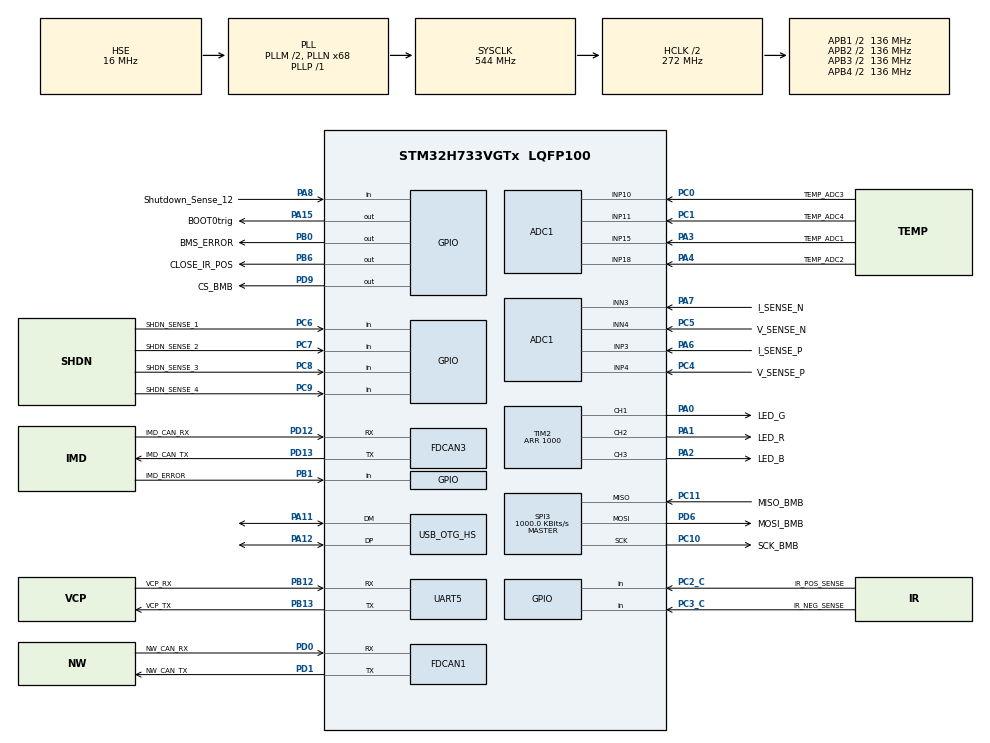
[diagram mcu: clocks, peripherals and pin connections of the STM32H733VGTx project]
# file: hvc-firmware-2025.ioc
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ADC1.Channel-0\#ChannelRegularConversion=ADC_CHANNEL_4
ADC1.Channel-1\#ChannelRegularConversion=ADC_CHANNEL_3
ADC1.Channel-2\#ChannelRegularConversion=ADC_CHANNEL_15
ADC1.Channel-3\#ChannelRegularConversion=ADC_CHANNEL_18
ADC1.Channel-4\#ChannelRegularConversion=ADC_CHANNEL_10
ADC1.Channel-5\#ChannelRegularConversion=ADC_CHANNEL_11
ADC1.ClockPrescaler=ADC_CLOCK_ASYNC_DIV1
ADC1.ContinuousConvMode=DISABLE
ADC1.ConversionDataManagement=ADC_CONVERSIONDATA_DMA_CIRCULAR
ADC1.EOCSelection=ADC_EOC_SEQ_CONV
ADC1.ExternalTrigConv=ADC_EXTERNALTRIG_T8_TRGO
ADC1.NbrOfConversion=6
ADC1.NbrOfConversionFlag=1
ADC1.OffsetNumber-0\#ChannelRegularConversion=ADC_OFFSET_NONE
ADC1.OffsetNumber-1\#ChannelRegularConversion=ADC_OFFSET_NONE
ADC1.OffsetNumber-2\#ChannelRegularConversion=ADC_OFFSET_NONE
ADC1.OffsetNumber-3\#ChannelRegularConversion=ADC_OFFSET_NONE
ADC1.OffsetNumber-4\#ChannelRegularConversion=ADC_OFFSET_NONE
ADC1.OffsetNumber-5\#ChannelRegularConversion=ADC_OFFSET_NONE
ADC1.OffsetSignedSaturation-0\#ChannelRegularConversion=DISABLE
ADC1.OffsetSignedSaturation-1\#ChannelRegularConversion=DISABLE
ADC1.OffsetSignedSaturation-2\#ChannelRegularConversion=DISABLE
ADC1.OffsetSignedSaturation-3\#ChannelRegularConversion=DISABLE
ADC1.OffsetSignedSaturation-4\#ChannelRegularConversion=DISABLE
ADC1.OffsetSignedSaturation-5\#ChannelRegularConversion=DISABLE
ADC1.Rank-0\#ChannelRegularConversion=1
ADC1.Rank-1\#ChannelRegularConversion=2
ADC1.Rank-2\#ChannelRegularConversion=3
ADC1.Rank-3\#ChannelRegularConversion=4
ADC1.Rank-4\#ChannelRegularConversion=5
ADC1.Rank-5\#ChannelRegularConversion=6
ADC1.SamplingTime-0\#ChannelRegularConversion=ADC_SAMPLETIME_32CYCLES_5
ADC1.SamplingTime-1\#ChannelRegularConversion=ADC_SAMPLETIME_32CYCLES_5
ADC1.SamplingTime-2\#ChannelRegularConversion=ADC_SAMPLETIME_32CYCLES_5
ADC1.SamplingTime-3\#ChannelRegularConversion=ADC_SAMPLETIME_32CYCLES_5
ADC1.SamplingTime-4\#ChannelRegularConversion=ADC_SAMPLETIME_32CYCLES_5
ADC1.SamplingTime-5\#ChannelRegularConversion=ADC_SAMPLETIME_32CYCLES_5
ADC1.SingleDiff-0\#ChannelRegularConversion=ADC_DIFFERENTIAL_ENDED
ADC1.SingleDiff-1\#ChannelRegularConversion=ADC_DIFFERENTIAL_ENDED
ADC1.master=1
Dma.ADC1.0.Direction=DMA_PERIPH_TO_MEMORY
Dma.ADC1.0.EventEnable=DISABLE
Dma.ADC1.0.FIFOMode=DMA_FIFOMODE_DISABLE
Dma.ADC1.0.Instance=DMA1_Stream0
Dma.ADC1.0.MemDataAlignment=DMA_MDATAALIGN_HALFWORD
Dma.ADC1.0.MemInc=DMA_MINC_ENABLE
Dma.ADC1.0.Mode=DMA_CIRCULAR
Dma.ADC1.0.PeriphDataAlignment=DMA_PDATAALIGN_HALFWORD
Dma.ADC1.0.PeriphInc=DMA_PINC_DISABLE
Dma.ADC1.0.Polarity=HAL_DMAMUX_REQ_GEN_RISING
Dma.ADC1.0.Priority=DMA_PRIORITY_LOW
Dma.ADC1.0.RequestNumber=1
Dma.ADC1.0.SignalID=NONE
Dma.ADC1.0.SyncEnable=DISABLE
Dma.ADC1.0.SyncPolarity=HAL_DMAMUX_SYNC_NO_EVENT
Dma.ADC1.0.SyncRequestNumber=1
Dma.ADC1.0.SyncSignalID=NONE
Dma.Request0=ADC1
FDCAN1.CalculateBaudRateNominal=1000000
FDCAN1.CalculateTimeBitNominal=1000
FDCAN1.CalculateTimeQuantumNominal=50.0
FDCAN1.NominalPrescaler=5
FDCAN1.NominalSyncJumpWidth=4
FDCAN1.StdFiltersNbr=3
FDCAN1.NominalTimeSeg1=14
FDCAN1.NominalTimeSeg2=5
FDCAN1.RxFifo0ElmtsNbr=3
FDCAN1.RxBuffersNbr=0
FDCAN1.TxBuffersNbr=0
FDCAN1.TxFifoQueueElmtsNbr=32
FDCAN3.CalculateBaudRateNominal=500000
FDCAN3.CalculateTimeBitNominal=2000
FDCAN3.CalculateTimeQuantumNominal=200.0
FDCAN3.NominalPrescaler=20
FDCAN3.NominalTimeSeg1=5
FDCAN3.NominalTimeSeg2=4
Mcu.Family=STM32H7
Mcu.Name=STM32H733VGTx
Mcu.Package=LQFP100
NVIC.ADC_IRQn=true\:0\:0\:false\:false\:true\:true\:true\:true
NVIC.DMA1_Stream0_IRQn=true\:0\:0\:false\:false\:true\:false\:true\:true
NVIC.OTG_HS_IRQn=true\:0\:0\:false\:false\:true\:false\:true\:true
NVIC.PriorityGroup=NVIC_PRIORITYGROUP_4
PA0.GPIO_Label=LED_G
PA0.Signal=S_TIM2_CH1_ETR
PA1.GPIO_Label=LED_R
PA1.Signal=S_TIM2_CH2
PA11.Mode=Device_Only_FS
PA11.Signal=USB_OTG_HS_DM
PA12.Mode=Device_Only_FS
PA12.Signal=USB_OTG_HS_DP
PA13(JTMS/SWDIO).Mode=Trace_Asynchronous_SW
PA13(JTMS/SWDIO).Signal=DEBUG_JTMS-SWDIO
PA14(JTCK/SWCLK).Mode=Trace_Asynchronous_SW
PA14(JTCK/SWCLK).Signal=DEBUG_JTCK-SWCLK
PA15(JTDI).GPIO_Label=BOOT0trig
PA15(JTDI).Signal=GPIO_Output
PA2.GPIO_Label=LED_B
PA2.Signal=S_TIM2_CH3
PA3.GPIO_Label=TEMP_ADC1
PA3.Signal=ADCx_INP15
PA4.GPIO_Label=TEMP_ADC2
PA4.Signal=ADCx_INP18
PA6.GPIO_Label=I_SENSE_P
PA6.Signal=ADCx_INP3
PA7.GPIO_Label=I_SENSE_N
PA7.Signal=ADCx_INN3
PA8.GPIO_Label=Shutdown_Sense_12
PA8.Signal=GPIO_Input
PB0.GPIO_Label=BMS_ERROR
PB0.Signal=GPIO_Output
PB1.GPIO_Label=IMD_ERROR
PB1.Signal=GPIO_Input
PB12.GPIO_Label=VCP_RX
PB12.Mode=Asynchronous
PB12.Signal=UART5_RX
PB13.GPIO_Label=VCP_TX
PB13.Mode=Asynchronous
PB13.Signal=UART5_TX
PB3(JTDO/TRACESWO).Mode=Trace_Asynchronous_SW
PB3(JTDO/TRACESWO).Signal=DEBUG_JTDO-SWO
PB6.GPIO_FM6=__NULL
PB6.GPIO_Label=CLOSE_IR_POS
PB6.Signal=GPIO_Output
PC0.GPIO_Label=TEMP_ADC3
PC0.Signal=ADCx_INP10
PC1.GPIO_Label=TEMP_ADC4
PC1.Signal=ADCx_INP11
PC10.GPIO_Label=SCK_BMB
PC10.GPIO_PuPd=GPIO_PULLUP
PC10.GPIO_Speed=GPIO_SPEED_FREQ_VERY_HIGH
PC10.Mode=Full_Duplex_Master
PC10.Signal=SPI3_SCK
PC11.GPIO_Label=MISO_BMB
PC11.GPIO_PuPd=GPIO_PULLUP
PC11.GPIO_Speed=GPIO_SPEED_FREQ_VERY_HIGH
PC11.Mode=Full_Duplex_Master
PC11.Signal=SPI3_MISO
PC2_C.GPIO_Label=IR_POS_SENSE
PC2_C.Signal=GPIO_Input
PC3_C.GPIO_Label=IR_NEG_SENSE
PC3_C.Signal=GPIO_Input
PC4.GPIO_Label=V_SENSE_P
PC4.Signal=ADCx_INP4
PC5.GPIO_Label=V_SENSE_N
PC5.Signal=ADCx_INN4
PC6.GPIO_Label=SHDN_SENSE_1
PC6.Signal=GPIO_Input
PC7.GPIO_Label=SHDN_SENSE_2
PC7.Signal=GPIO_Input
PC8.GPIO_Label=SHDN_SENSE_3
PC8.Signal=GPIO_Input
PC9.GPIO_Label=SHDN_SENSE_4
PC9.Signal=GPIO_Input
PD0.GPIO_Label=NW_CAN_RX
PD0.Mode=FDCAN_Activate
PD0.Signal=FDCAN1_RX
PD1.GPIO_Label=NW_CAN_TX
PD1.Mode=FDCAN_Activate
PD1.Signal=FDCAN1_TX
PD12.GPIO_Label=IMD_CAN_RX
PD12.Mode=FDCAN_Activate
PD12.Signal=FDCAN3_RX
PD13.GPIO_Label=IMD_CAN_TX
PD13.Mode=FDCAN_Activate
PD13.Signal=FDCAN3_TX
PD6.GPIO_Label=MOSI_BMB
PD6.GPIO_PuPd=GPIO_PULLUP
PD6.GPIO_Speed=GPIO_SPEED_FREQ_VERY_HIGH
PD6.Mode=Full_Duplex_Master
PD6.Signal=SPI3_MOSI
PD9.GPIO_Label=CS_BMB
PD9.GPIO_PuPd=GPIO_NOPULL
PD9.GPIO_Speed=GPIO_SPEED_FREQ_VERY_HIGH
PD9.PinState=GPIO_PIN_SET
PD9.Signal=GPIO_Output
PH0-OSC_IN.Mode=HSE-External-Oscillator
PH0-OSC_IN.Signal=RCC_OSC_IN
PH1-OSC_OUT.Mode=HSE-External-Oscillator
PH1-OSC_OUT.Signal=RCC_OSC_OUT
ProjectManager.HeapSize=0x200
ProjectManager.StackSize=0x400
ProjectManager.TargetToolchain=STM32CubeIDE
RCC.ADCFreq_Value=100000000
RCC.APB1Freq_Value=136000000
RCC.APB2Freq_Value=136000000
RCC.APB3Freq_Value=136000000
RCC.APB4Freq_Value=136000000
RCC.CECCLockSelection=RCC_CECCLKSOURCE_LSI
RCC.CKPERSourceSelection=RCC_CLKPSOURCE_HSI
RCC.CSI_VALUE=4000000
RCC.CortexFreq_Value=544000000
RCC.Cortex_DivARG=SystemCoreClock/1000
RCC.D1PPRE=RCC_APB3_DIV2
RCC.D2PPRE1=RCC_APB1_DIV2
RCC.D2PPRE2=RCC_APB2_DIV2
RCC.D3PPRE=RCC_APB4_DIV2
RCC.DFSDMCLockSelection=RCC_DFSDM1CLKSOURCE_D2PCLK1
RCC.DIVM1=2
RCC.DIVM2=2
RCC.DIVM3=2
RCC.DIVN1=68
RCC.DIVN2=25
RCC.DIVN3=32
RCC.DIVP1=1
RCC.DIVQ1=1
RCC.DIVR3=1
RCC.EXTERNAL_CLOCK_VALUE=12288000
RCC.FDCANCLockSelection=RCC_FDCANCLKSOURCE_PLL2
RCC.FLatency-AdvancedSettings=FLASH_LATENCY_3
RCC.FMCCLockSelection=RCC_FMCCLKSOURCE_D1HCLK
RCC.HCLKFreq_Value=272000000
RCC.HPRE=RCC_HCLK_DIV2
RCC.HSE_VALUE=16000000
RCC.HSI48_VALUE=48000000
RCC.HSI_VALUE=64000000
RCC.I2C123CLockSelection=RCC_I2C1235CLKSOURCE_D2PCLK1
RCC.I2C4CLockSelection=RCC_I2C4CLKSOURCE_D3PCLK1
RCC.LPTIM1CLockSelection=RCC_LPTIM1CLKSOURCE_D2PCLK1
RCC.LPTIM2CLockSelection=RCC_LPTIM2CLKSOURCE_D3PCLK1
RCC.LPTIM345CLockSelection=RCC_LPTIM345CLKSOURCE_D3PCLK1
RCC.LPUART1CLockSelection=RCC_LPUART1CLKSOURCE_D3PCLK1
RCC.LSE_VALUE=32768
RCC.PLL1_VCI_Range=RCC_PLL1VCIRANGE_3
RCC.PLL1_VCO_SEL-AdvancedSettings=RCC_PLL1VCOWIDE
RCC.PLL2FRACN=0
RCC.PLL2_VCI_Range-AdvancedSettings=RCC_PLL2VCIRANGE_3
RCC.PLL2_VCO_SEL-AdvancedSettings=RCC_PLL2VCOWIDE
RCC.PLL3FRACN=0
RCC.PLL3_VCI_Range-AdvancedSettings=RCC_PLL3VCIRANGE_3
RCC.PLL3_VCO_SEL-AdvancedSettings=RCC_PLL3VCOMEDIUM
RCC.PLLFRACN=0
RCC.PLLSourceVirtual=RCC_PLLSOURCE_HSE
RCC.QSPICLockSelection=RCC_OSPICLKSOURCE_D1HCLK
RCC.RCC_MCO1Source=RCC_MCO1SOURCE_HSI
RCC.RCC_MCO2Source=RCC_MCO2SOURCE_SYSCLK
RCC.RNGCLockSelection=RCC_RNGCLKSOURCE_HSI48
RCC.SAI1CLockSelection=RCC_SAI1CLKSOURCE_PLL
RCC.SAI4ACLockSelection=RCC_SAI4ACLKSOURCE_PLL
RCC.SAI4BCLockSelection=RCC_SAI4BCLKSOURCE_PLL
RCC.SPDIFCLockSelection=RCC_SPDIFRXCLKSOURCE_PLL
RCC.SPI123CLockSelection=RCC_SPI123CLKSOURCE_PLL3
RCC.SPI6CLockSelection=RCC_SPI6CLKSOURCE_D3PCLK1
RCC.SWPCLockSelection=RCC_SWPMI1CLKSOURCE_D2PCLK1
RCC.SYSCLKFreq_VALUE=544000000
RCC.SYSCLKSource=RCC_SYSCLKSOURCE_PLLCLK
RCC.Spi45ClockSelection=RCC_SPI45CLKSOURCE_D2PCLK1
RCC.USART16CLockSelection=RCC_USART16910CLKSOURCE_D2PCLK2
RCC.USART234578CLockSelection=RCC_USART234578CLKSOURCE_D2PCLK1
RCC.USBCLockSelection=RCC_USBCLKSOURCE_HSI48
RCC.USBFreq_Value=48000000
SH.ADCx_INN3.0=ADC1_INN3,IN3-Differential
SH.ADCx_INN4.0=ADC1_INN4,IN4-Differential
SH.ADCx_INP10.0=ADC1_INP10,IN10-Single-Ended
SH.ADCx_INP11.0=ADC1_INP11,IN11-Single-Ended
SH.ADCx_INP15.0=ADC1_INP15,IN15-Single-Ended
SH.ADCx_INP18.0=ADC1_INP18,IN18-Single-Ended
SH.ADCx_INP3.0=ADC1_INP3,IN3-Differential
SH.ADCx_INP4.0=ADC1_INP4,IN4-Differential
SH.S_TIM2_CH1_ETR.0=TIM2_CH1,PWM Generation1 CH1
SH.S_TIM2_CH2.0=TIM2_CH2,PWM Generation2 CH2
SH.S_TIM2_CH3.0=TIM2_CH3,PWM Generation3 CH3
SPI3.BaudRatePrescaler=SPI_BAUDRATEPRESCALER_128
SPI3.CLKPhase=SPI_PHASE_2EDGE
SPI3.CLKPolarity=SPI_POLARITY_HIGH
SPI3.CalculateBaudRate=1000.0 KBits/s
SPI3.DataSize=SPI_DATASIZE_8BIT
SPI3.Direction=SPI_DIRECTION_2LINES
SPI3.MasterKeepIOState=SPI_MASTER_KEEP_IO_STATE_ENABLE
SPI3.Mode=SPI_MODE_MASTER
SPI3.VirtualType=VM_MASTER
TIM2.AutoReloadPreload=TIM_AUTORELOAD_PRELOAD_ENABLE
TIM2.Channel-PWM\ Generation1\ CH1=TIM_CHANNEL_1
TIM2.Channel-PWM\ Generation2\ CH2=TIM_CHANNEL_2
TIM2.Channel-PWM\ Generation3\ CH3=TIM_CHANNEL_3
TIM2.OCPolarity_1=TIM_OCPOLARITY_LOW
TIM2.OCPolarity_2=TIM_OCPOLARITY_LOW
TIM2.OCPolarity_3=TIM_OCPOLARITY_LOW
TIM2.Period=1000
TIM8.Period=10-1
TIM8.Prescaler=27200-1
TIM8.TIM_MasterOutputTrigger=TIM_TRGO_UPDATE
USB_DEVICE.CLASS_NAME_HS=CDC
USB_DEVICE.MANUFACTURER_STRING=LHRe High Voltage Control Board
USB_DEVICE.VirtualMode=Cdc
USB_DEVICE.VirtualModeHS=Cdc_HS
USB_OTG_HS.VirtualMode-Device_Only_FS=Device_Only_FS
VP_MEMORYMAP_VS_MEMORYMAP.Mode=CurAppReg
VP_TIM8_VS_ClockSourceINT.Mode=Internal
VP_USB_DEVICE_VS_USB_DEVICE_CDC_HS.Mode=CDC_HS
board=custom

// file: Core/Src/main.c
/* USER CODE BEGIN Header */
/**
  ******************************************************************************
  * @file           : main.c
  * @brief          : Main program body
  ******************************************************************************
  * @attention
  *
  * Copyright (c) 2024 STMicroelectronics.
  * All rights reserved.
  *
  * This software is licensed under terms that can be found in the LICENSE file
  * in the root directory of this software component.
  * If no LICENSE file comes with this software, it is provided AS-IS.
  *
  ******************************************************************************
  */
/* USER CODE END Header */
#include "main.h"
#include "adc.h"
#include "dma.h"
#include "fdcan.h"
#include "memorymap.h"
#include "spi.h"
#include "tim.h"
#include "usart.h"
#include "usb_device.h"
#include "gpio.h"

/* USER CODE BEGIN Includes */
#include <stdarg.h>
#include <stdio.h>

#include "led.h"
#include "timer.h"
#include "dfu.h"
#include "hvc_can.h"
#include "longhorn/can/can_ids.h"
#include "usb_vcp.h"
#include "vct_sense.h"
#include "state_machine.h"
#include "charging.h"
#include "state_machine_logic.h"
#include "imd.h"
#include "bmb_debug.h"
#include "contactors.h"
#include "cells.h"
#include "faults.h"

/* USER CODE END Includes */

/* USER CODE BEGIN PD */
#define BMS_PRINT_INTERVAL_MS 1000U
#define USB_PRINT_SETTLE_MS 5U
#define BMS_PRINT_LINE_SIZE 256U
#ifndef HVC_BMS_FAULT_MONITOR_ONLY
#define HVC_BMS_FAULT_MONITOR_ONLY 0
#endif
/* USER CODE END PD */

void SystemClock_Config(void);
void PeriphCommonClock_Config(void);
/* USER CODE BEGIN PFP */
static size_t appendToLine(char *line, size_t capacity, size_t length,
                           const char *format, ...);
static size_t appendFaultName(char *line, size_t capacity, size_t length,
                              uint32_t faults, uint32_t fault,
                              const char *name);
static void serviceImd(void);
static void settleUsbAndServiceCan(void);
static void printBmsFaultDiagnostics(void);
static void printHighImpedanceDiagnostics(void);
static void printPackAndBmsSummary(void);
static void printBmsReadings(void);
/* USER CODE END PFP */

/* USER CODE BEGIN 0 */
static size_t appendToLine(char *line, size_t capacity, size_t length,
                           const char *format, ...)
{
  if (length >= capacity) return capacity - 1U;

  va_list args;
  va_start(args, format);
  int written = vsnprintf(line + length, capacity - length, format, args);
  va_end(args);

  if (written < 0) return length;
  if ((size_t)written >= capacity - length) return capacity - 1U;
  return length + (size_t)written;
}

static size_t appendFaultName(char *line, size_t capacity, size_t length,
                              uint32_t faults, uint32_t fault,
                              const char *name)
{
  if ((faults & fault) == 0U) return length;
  return appendToLine(line, capacity, length, "%s%s",
                      length == 0U ? "" : "|", name);
}

static void serviceImd(void)
{
  imd_can_periodic(isPosContactorClosed() && isNegContactorClosed());
}

static void settleUsbAndServiceCan(void)
{
  HAL_Delay(USB_PRINT_SETTLE_MS);
  hvc_can_service_tx();
  /* The status print blocks the main loop for a while; keep IMD fault
     handling running through it. */
  serviceImd();
}

static void printHighImpedanceDiagnostics(void)
{
  char line[BMS_PRINT_LINE_SIZE];
  const uint32_t suspectCount = getHighImpedanceSuspectCount();

  usb_printf("HIGH_Z bypass=%s suspects=%lu thresholds=<%.2fV/>%.2fV",
             HVC_BRINGUP_IGNORE_HIGH_IMPEDANCE_CELL_FAULTS ? "ON" : "OFF",
             (unsigned long)suspectCount,
             (double)HVC_HIGH_IMPEDANCE_SUSPECT_LOW_MAX_V,
             (double)HVC_HIGH_IMPEDANCE_SUSPECT_HIGH_MIN_V);
  settleUsbAndServiceCan();

  for (uint32_t bmb = 0U; bmb < NUM_BMS_ICS; bmb++)
  {
    size_t length = 0U;
    uint32_t bmbSuspectCount = 0U;
    const uint32_t firstCell = bmb * CELLS_PER_BMB;

    for (uint32_t channel = 0U; channel < CELLS_PER_BMB; channel++)
    {
      const uint32_t cell = firstCell + channel;
      if (!isCellHighImpedanceSuspect(cell)) continue;

      if (bmbSuspectCount == 0U)
      {
        length = appendToLine(line, sizeof(line), length,
                              "HIGH_Z BMB%02lu:",
                              (unsigned long)(bmb + 1U));
      }
      length = appendToLine(line, sizeof(line), length,
                            " C%03lu(ch%02lu)=%.3fV",
                            (unsigned long)(cell + 1U),
                            (unsigned long)(channel + 1U),
                            (double)getCellVoltage(cell));
      bmbSuspectCount++;
    }

    if (bmbSuspectCount != 0U)
    {
      println(line);
      settleUsbAndServiceCan();
    }
  }
}

static void printBmsFaultDiagnostics(void)
{
  char line[BMS_PRINT_LINE_SIZE];
  const uint32_t faults = get_last_faults();
  uint32_t rawFaults = 0U;
  size_t length = 0U;

  if (getNumResponsiveChips() != NUM_BMS_ICS) rawFaults |= FAULT_BMS_COMMS;
  if (hasCellOvervoltage()) rawFaults |= FAULT_BMS_OVERVOLTAGE;
  if (hasCellUndervoltage()) rawFaults |= FAULT_BMS_UNDERVOLTAGE;
  if (hasCellOvertemperature()) rawFaults |= FAULT_BMS_OVERTEMP;

  length = appendFaultName(line, sizeof(line), length, faults,
                           FAULT_BMS_COMMS, "COMMS");
  length = appendFaultName(line, sizeof(line), length, faults,
                           FAULT_BMS_OVERVOLTAGE, "CELL_OV");
  length = appendFaultName(line, sizeof(line), length, faults,
                           FAULT_BMS_UNDERVOLTAGE, "CELL_UV");
  length = appendFaultName(line, sizeof(line), length, faults,
                           FAULT_BMS_OVERTEMP, "TEMP_OT");
  if (length == 0U) length = appendToLine(line, sizeof(line), 0U, "NONE");

  usb_printf("BMS FAULTS active(after delay)=0x%02lX [%s] output=%s state_machine=%s",
             (unsigned long)faults, line,
             HVC_BMS_FAULT_MONITOR_ONLY ? "SUPPRESSED" : "ENABLED",
             HVC_BMS_FAULT_MONITOR_ONLY ? "IGNORED" : "ENABLED");
  settleUsbAndServiceCan();

  length = 0U;
  length = appendFaultName(line, sizeof(line), length, rawFaults,
                           FAULT_BMS_COMMS, "COMMS");
  length = appendFaultName(line, sizeof(line), length, rawFaults,
                           FAULT_BMS_OVERVOLTAGE, "CELL_OV");
  length = appendFaultName(line, sizeof(line), length, rawFaults,
                           FAULT_BMS_UNDERVOLTAGE, "CELL_UV");
  length = appendFaultName(line, sizeof(line), length, rawFaults,
                           FAULT_BMS_OVERTEMP, "TEMP_OT");
  if (length == 0U) length = appendToLine(line, sizeof(line), 0U, "NONE");

  usb_printf("BMS RAW now=0x%02lX [%s] (delays: comms 1s, OV/UV 10s, OT 5s)",
             (unsigned long)rawFaults, line);
  settleUsbAndServiceCan();

  printHighImpedanceDiagnostics();

  if ((rawFaults & FAULT_BMS_COMMS) != 0U)
  {
    length = appendToLine(line, sizeof(line), 0U, "BMS COMMS MISSING:");
    bool first = true;
    for (uint32_t bmb = 0; bmb < NUM_BMS_ICS; bmb++)
    {
      if (isBmbReadingOk(bmb)) continue;
      length = appendToLine(line, sizeof(line), length, "%s BMB%02lu",
                            first ? "" : ",", (unsigned long)(bmb + 1U));
      first = false;
    }
    println(line);
    settleUsbAndServiceCan();
  }
}

static void printPackAndBmsSummary(void)
{
  const float vSense = getTractiveVoltage();
  const float allCellSum = getPackVoltageFromCells();
  const float prechargeTarget =
      allCellSum * HVC_PRECHARGE_THRESHOLD_PERCENT;
  const bool prechargeVoltageOk = vSense > prechargeTarget;
  const float vSensePercent = allCellSum > 1.0f
      ? (vSense / allCellSum) * 100.0f
      : 0.0f;
  float validCellSum = 0.0f;
  float minCell = 0.0f;
  float maxCell = 0.0f;
  float minTemperature = 0.0f;
  float maxTemperature = 0.0f;
  uint32_t minCellIndex = 0U;
  uint32_t maxCellIndex = 0U;
  uint32_t minTemperatureIndex = 0U;
  uint32_t maxTemperatureIndex = 0U;
  uint32_t validCells = 0U;
  uint32_t validTemperatures = 0U;

  for (uint32_t cell = 0U; cell < NUM_BMS_ICS * CELLS_PER_BMB; cell++)
  {
    const uint32_t bmb = cell / CELLS_PER_BMB;
    if (!isBmbReadingOk(bmb) || !isCellVoltageReadingOk(cell)) continue;

    const float voltage = getCellVoltage(cell);
    validCellSum += voltage;
    if (validCells == 0U || voltage < minCell)
    {
      minCell = voltage;
      minCellIndex = cell;
    }
    if (validCells == 0U || voltage > maxCell)
    {
      maxCell = voltage;
      maxCellIndex = cell;
    }
    validCells++;
  }

  for (uint32_t temperature = 0U;
       temperature < NUM_BMS_ICS * TEMPERATURES_PER_BMB;
       temperature++)
  {
    const uint32_t bmb = temperature / TEMPERATURES_PER_BMB;
    if (!isBmbReadingOk(bmb) ||
        !isCellTemperatureReadingOk(temperature)) continue;

    const float value = getCellTemperature(temperature);
    if (validTemperatures == 0U || value < minTemperature)
    {
      minTemperature = value;
      minTemperatureIndex = temperature;
    }
    if (validTemperatures == 0U || value > maxTemperature)
    {
      maxTemperature = value;
      maxTemperatureIndex = temperature;
    }
    validTemperatures++;
  }

  usb_printf("HV BUS_VSENSE=%.2fV PACK_CELL_SUM_ALL=%.2fV DELTA=%.2fV RATIO=%.1f%% VALID_SUM=%.2fV",
             (double)vSense, (double)allCellSum,
             (double)(vSense - allCellSum), (double)vSensePercent,
             (double)validCellSum);
  settleUsbAndServiceCan();

  /* Cells with no BMS reading (dead channels and the removed BMB). With both
     AIRs closed BUS_VSENSE is the whole pack, so the gap to the measured sum
     is what the unmonitored cells hold between them. */
  const uint32_t unmonitoredCells = PACK_SERIES_CELLS - getMeasuredCellCount();
  if (unmonitoredCells > 0U && isPosContactorClosed() && isNegContactorClosed())
  {
    const float unmonitoredVoltage = vSense - getMeasuredCellSum();
    usb_printf("UNMONITORED cells=%lu est_avg=%.3fV/cell (BUS_VSENSE %.1fV - measured %.1fV) charging=%s",
               (unsigned long)unmonitoredCells,
               (double)(unmonitoredVoltage / (float)unmonitoredCells),
               (double)vSense, (double)getMeasuredCellSum(),
               HVC_DISABLE_CHARGING ? "DISABLED" : "ENABLED");
  }
  else
  {
    usb_printf("UNMONITORED cells=%lu est_avg=n/a (needs both AIRs closed) charging=%s%s",
               (unsigned long)unmonitoredCells,
               HVC_DISABLE_CHARGING ? "DISABLED" : "ENABLED",
               isChargingBlocked() ? " CHARGER_CONNECTED->HELD_OFF" : "");
  }
  settleUsbAndServiceCan();

  usb_printf("PRECHARGE target=%.2fV (%u%% of CELL_SUM_ALL) gate=%s qualified=%lums/%ums",
             (double)prechargeTarget,
             (unsigned int)(HVC_PRECHARGE_THRESHOLD_PERCENT * 100.0f),
             prechargeVoltageOk ? "PASS" : "HOLD",
             (unsigned long)(prechargeVoltageOk
                 ? get_precharge_qualified_ms()
                 : 0U),
             (unsigned int)HVC_PRECHARGE_VALID_MS);
  settleUsbAndServiceCan();

  hvc_charging_status_t charging;
  hvc_get_charging_status(&charging);
  usb_printf("CHARGING phase=%s stop=%s cmd[en=%u %.1fV %.2fA] charger[%s %.1fV %.2fA en=%u] max_cell=%.3fV max_temp=%.1fC",
             charge_policy_phase_name(charging.phase),
             charge_policy_stop_name(charging.stopReason),
             (unsigned int)charging.commandEnable,
             (double)charging.commandVoltage,
             (double)charging.commandCurrent,
             charging.chargerConnected ? "CONNECTED" : "ABSENT",
             (double)charging.chargerVoltage,
             (double)charging.chargerCurrent,
             (unsigned int)charging.chargerEnabled,
             (double)getMaxCellVoltage(),
             (double)getMaxTemp());
  settleUsbAndServiceCan();

  if (validCells > 0U)
  {
    usb_printf("CELLS valid=%lu/%u invalid=%lu min=C%03lu %.3fV max=C%03lu %.3fV",
               (unsigned long)validCells,
               (unsigned int)(NUM_BMS_ICS * CELLS_PER_BMB),
               (unsigned long)(NUM_BMS_ICS * CELLS_PER_BMB - validCells),
               (unsigned long)(minCellIndex + 1U), (double)minCell,
               (unsigned long)(maxCellIndex + 1U), (double)maxCell);
  }
  else
  {
    usb_printf("CELLS valid=0/%u invalid=%u min=NONE max=NONE",
               (unsigned int)(NUM_BMS_ICS * CELLS_PER_BMB),
               (unsigned int)(NUM_BMS_ICS * CELLS_PER_BMB));
  }
  settleUsbAndServiceCan();

  if (validTemperatures > 0U)
  {
    usb_printf("TEMPS valid=%lu/%u invalid=%lu min=T%03lu %.1fC max=T%03lu %.1fC",
               (unsigned long)validTemperatures,
               (unsigned int)(NUM_BMS_ICS * TEMPERATURES_PER_BMB),
               (unsigned long)(NUM_BMS_ICS * TEMPERATURES_PER_BMB -
                               validTemperatures),
               (unsigned long)(minTemperatureIndex + 1U),
               (double)minTemperature,
               (unsigned long)(maxTemperatureIndex + 1U),
               (double)maxTemperature);
  }
  else
  {
    usb_printf("TEMPS valid=0/%u invalid=%u min=NONE max=NONE",
               (unsigned int)(NUM_BMS_ICS * TEMPERATURES_PER_BMB),
               (unsigned int)(NUM_BMS_ICS * TEMPERATURES_PER_BMB));
  }
  settleUsbAndServiceCan();
}

static void printBmsReadings(void)
{
  hvc_can_rx_status_t canRx;
  hvc_can_tx_status_t canTx;

  hvc_can_get_rx_status(&canRx);
  hvc_can_get_tx_status(&canTx);

  usb_printf("HVC state=%s shutdown=%s AIR_SENSE=[+%u,-%u] faults=0x%02lX latched=0x%02lX",
             get_state_name(get_current_state()),
             isShutdownClosed() ? "CLOSED" : "OPEN",
             (unsigned int)isPosContactorClosed(),
             (unsigned int)isNegContactorClosed(),
             (unsigned long)get_last_faults(),
             (unsigned long)get_latched_faults());
  settleUsbAndServiceCan();

  usb_printf("IMD OK_SIGNAL=%.2fV(%s) STATE=%s for=%lums TRIP=%s LATCH_SET(PB1)=%u%s",
             (double)getImdOkVoltage(),
             isImdSignalOk() ? "OK" : "FAULT",
             imd_mode_policy_state_name(getImdState()),
             (unsigned long)getImdStateAgeMs(),
             imd_mode_policy_trip_name(getImdTripReason()),
             (unsigned int)isImdLatchSetAsserted(),
             isImdBypassed() ? " BYPASS(PB1 forced 0)" : "");
  settleUsbAndServiceCan();

  usb_printf("SAFETY IMD=%s VCU_RX=%s age=%lums PRNDL=%u SHDN=[%u,%u,%u,%u] SHDN12_24V=%s AIR_SENSE=[+%u,-%u]",
             isImdOk() ? "OK" : "TRIPPED",
             canRx.vcuStateValid ? "OK" : "TIMEOUT",
             (unsigned long)canRx.vcuStateAgeMs,
             (unsigned int)canRx.prndlState,
             (unsigned int)isShutdownOneOk(),
             (unsigned int)isShutdownTwoOk(),
             (unsigned int)isShutdownThreeOk(),
             (unsigned int)isShutdownFourOk(),
             isShutdownTwelveOk() ? "ON" : "OFF",
             (unsigned int)isPosContactorClosed(),
             (unsigned int)isNegContactorClosed());
  settleUsbAndServiceCan();

  usb_printf("CAN TX 0x%03X=[%02X %02X %02X %02X] mode=%s started=%u registered=%u age=%lums queued=%lu dropped=%lu",
             (unsigned int)CONTACTOR_STATUS_ID,
             (unsigned int)canTx.contactorStatusData[0],
             (unsigned int)canTx.contactorStatusData[1],
             (unsigned int)canTx.contactorStatusData[2],
             (unsigned int)canTx.contactorStatusData[3],
             canTx.contactorStateForced ? "FORCED_ENERGIZED" : "LIVE",
             (unsigned int)canTx.interfaceStarted,
             (unsigned int)canTx.contactorStatusRegistered,
             (unsigned long)canTx.contactorStatusAgeMs,
             (unsigned long)canTx.messagesQueued,
             (unsigned long)canTx.droppedPackets);
  settleUsbAndServiceCan();

  printPackAndBmsSummary();
  printBmsFaultDiagnostics();
  /* Raw ADBMS register dump for one BMB (see bmb_debug.h); disabled for now. */
  // bmb_debug_dump(settleUsbAndServiceCan);

  char line[BMS_PRINT_LINE_SIZE];
  usb_printf("ADBMS scan: %lu/%u BMBs OK | ! = bad read; trips: cell <%.2fV/>%.2fV, temp >60C",
             (unsigned long)getNumResponsiveChips(), (unsigned int)NUM_BMS_ICS,
             (double)CELL_UNDER_VOLTAGE, (double)CELL_OVER_VOLTAGE);
  settleUsbAndServiceCan();

  for (uint32_t bmb = 0; bmb < NUM_BMS_ICS; bmb++)
  {
    const bool communicationsOk = isBmbReadingOk(bmb);
    bool cellsOk = communicationsOk;
    bool temperaturesOk = communicationsOk;
    const uint32_t firstCell = bmb * CELLS_PER_BMB;
    const uint32_t firstTemperature = bmb * TEMPERATURES_PER_BMB;

    for (uint32_t channel = 0; channel < CELLS_PER_BMB; channel++)
    {
      cellsOk &= isCellVoltageReadingOk(firstCell + channel);
    }
    for (uint32_t channel = 0; channel < TEMPERATURES_PER_BMB; channel++)
    {
      temperaturesOk &= isCellTemperatureReadingOk(firstTemperature + channel);
    }

    const char *cellStatus = !communicationsOk ? "CRC_FAULT" :
                             (cellsOk ? "OK" : "RANGE_FAULT");
    size_t length = appendToLine(line, sizeof(line), 0U,
                                 "BMB%02lu CELLS %s:",
                                 (unsigned long)(bmb + 1U), cellStatus);
    for (uint32_t channel = 0; channel < CELLS_PER_BMB; channel++)
    {
      const uint32_t cellIndex = firstCell + channel;
      const bool readingOk = communicationsOk && isCellVoltageReadingOk(cellIndex);
      length = appendToLine(line, sizeof(line), length, " C%03lu=%s%.3f",
                            (unsigned long)(cellIndex + 1U), readingOk ? "" : "!",
                            (double)getCellVoltage(cellIndex));
    }
    println(line);
    settleUsbAndServiceCan();

    const char *temperatureStatus = !communicationsOk ? "CRC_FAULT" :
                                    (temperaturesOk ? "OK" : "RANGE_FAULT");
    length = appendToLine(line, sizeof(line), 0U,
                          "BMB%02lu TEMPS %s:",
                          (unsigned long)(bmb + 1U), temperatureStatus);
    for (uint32_t channel = 0; channel < TEMPERATURES_PER_BMB; channel++)
    {
      const uint32_t temperatureIndex = firstTemperature + channel;
      const bool readingOk = communicationsOk &&
                             isCellTemperatureReadingOk(temperatureIndex);
      length = appendToLine(line, sizeof(line), length, " T%03lu=%s%.1f",
                            (unsigned long)(temperatureIndex + 1U), readingOk ? "" : "!",
                            (double)getCellTemperature(temperatureIndex));
    }
    println(line);
    settleUsbAndServiceCan();
  }
}

/* USER CODE END 0 */

int main(void)
{

  /* MCU Configuration--------------------------------------------------------*/

  /* Reset of all peripherals, Initializes the Flash interface and the Systick. */
  HAL_Init();

  /* Configure the system clock */
  SystemClock_Config();

  /* Configure the peripherals common clocks */
  PeriphCommonClock_Config();

  /* Initialize all configured peripherals */
  MX_GPIO_Init();
  MX_DMA_Init();
  MX_ADC1_Init();
  MX_UART5_Init();
  MX_FDCAN1_Init();
  MX_FDCAN3_Init();
  MX_SPI3_Init();
  MX_TIM2_Init();
  MX_TIM8_Init();
  MX_USB_DEVICE_Init();
  /* USER CODE BEGIN 2 */

  HAL_TIM_Base_Start(&htim8);

  led_init(TIM2, &htim2, 3);
  lib_timer_init();
  dfu_init(BOOT0trig_GPIO_Port, BOOT0trig_Pin);
  hvc_can_init();
  imd_can_init();
  cells_init();
  contactors_init();
  faults_init();
  state_machine_init();

  /* USER CODE END 2 */

  /* Infinite loop */
  /* USER CODE BEGIN WHILE */
  static uint32_t lastBmsPrintTime = 0;
  static uint32_t lastStateMachineTime = 0;
  static uint32_t deltaTime;
  static uint32_t currentFaults = 0;
  static bool bmsIndicatorError = false;
  static bool imdIndicatorError = false;
  while (1)
  {
    /* USER CODE END WHILE */

    /* USER CODE BEGIN 3 */
    deltaTime = lib_timer_delta_ms();
    const uint32_t currentTime = lib_timer_elapsed_ms();

    /* Every loop: PA3 (IMD OK) and the AIR feedback decide PB1 (latch set). */
    serviceImd();

    /* Service safety-critical CAN immediately before the one blocking ADBMS
       conversion step as well as after it in hvc_can_periodic(). */
    hvc_can_service_tx();
    cells_periodic((int)get_current_state());

    if ((uint32_t)(currentTime - lastStateMachineTime) >= 100U)
    {
      lastStateMachineTime = currentTime;
      currentFaults = get_faults();
#if HVC_BMS_FAULT_MONITOR_ONLY
      setBmsError(false);
#else
      latch_faults(currentFaults);
      setBmsError(currentFaults != 0U);
#endif

      const bool startupComplete = currentTime > 8000U;
      if (startupComplete)
      {
#if !HVC_BMS_FAULT_MONITOR_ONLY
        bmsIndicatorError = bmsIndicatorError || currentFaults != 0U;
#endif
        imdIndicatorError = imdIndicatorError || !isImdOk();
      }

      /* An IMD trip blocks precharge until power cycle, so the reset button
         cannot re-energize into an insulation fault. */
      const bool anyFaults =
#if HVC_BMS_FAULT_MONITOR_ONLY
          !startupComplete || !isImdOk();
#else
          get_latched_faults() != 0U || !startupComplete || !isImdOk();
#endif
      update_state_machine(anyFaults);
    }

    hvc_can_periodic(bmsIndicatorError, imdIndicatorError,
                     (int)get_current_state(),
                     (float)deltaTime / 1000.0f);
    receive_periodic();

    if ((uint32_t)(currentTime - lastBmsPrintTime) >= BMS_PRINT_INTERVAL_MS)
    {
      lastBmsPrintTime = currentTime;
      printBmsReadings();
    }

    led_rainbow(deltaTime / 1000.0f);

    //timer += deltaTime / 1000.0f;
    /*
    if(timer >= 3.0f) {
      usb_printf("HV Voltage: %.3f", getTractiveVoltage());
      usb_printf("HV Current: &.3f", getTractiveCurrent());
      usb_printf("IMD Status: %d", (int) isImdOk());
      timer = 0.0f;
    }
    */
    //HAL_Delay(1);
  }

  HAL_Delay(1);
  /* USER CODE END 3 */
}

void SystemClock_Config(void)
{
  RCC_OscInitTypeDef RCC_OscInitStruct = {0};
  RCC_ClkInitTypeDef RCC_ClkInitStruct = {0};

  /** Supply configuration update enable
  */
  HAL_PWREx_ConfigSupply(PWR_LDO_SUPPLY);

  /** Configure the main internal regulator output voltage
  */
  __HAL_PWR_VOLTAGESCALING_CONFIG(PWR_REGULATOR_VOLTAGE_SCALE0);

  while(!__HAL_PWR_GET_FLAG(PWR_FLAG_VOSRDY)) {}

  /** Initializes the RCC Oscillators according to the specified parameters
  * in the RCC_OscInitTypeDef structure.
  */
  RCC_OscInitStruct.OscillatorType = RCC_OSCILLATORTYPE_HSI48|RCC_OSCILLATORTYPE_HSE;
  RCC_OscInitStruct.HSEState = RCC_HSE_ON;
  RCC_OscInitStruct.HSI48State = RCC_HSI48_ON;
  RCC_OscInitStruct.PLL.PLLState = RCC_PLL_ON;
  RCC_OscInitStruct.PLL.PLLSource = RCC_PLLSOURCE_HSE;
  RCC_OscInitStruct.PLL.PLLM = 2;
  /* 16 MHz HSE / 2 * 68 = 544 MHz SYSCLK. */
  RCC_OscInitStruct.PLL.PLLN = 68;
  RCC_OscInitStruct.PLL.PLLP = 1;
  RCC_OscInitStruct.PLL.PLLQ = 1;
  RCC_OscInitStruct.PLL.PLLR = 2;
  RCC_OscInitStruct.PLL.PLLRGE = RCC_PLL1VCIRANGE_3;
  RCC_OscInitStruct.PLL.PLLVCOSEL = RCC_PLL1VCOWIDE;
  RCC_OscInitStruct.PLL.PLLFRACN = 0;
  if (HAL_RCC_OscConfig(&RCC_OscInitStruct) != HAL_OK)
  {
    Error_Handler();
  }

  /** Initializes the CPU, AHB and APB buses clocks
  */
  RCC_ClkInitStruct.ClockType = RCC_CLOCKTYPE_HCLK|RCC_CLOCKTYPE_SYSCLK
                              |RCC_CLOCKTYPE_PCLK1|RCC_CLOCKTYPE_PCLK2
                              |RCC_CLOCKTYPE_D3PCLK1|RCC_CLOCKTYPE_D1PCLK1;
  RCC_ClkInitStruct.SYSCLKSource = RCC_SYSCLKSOURCE_PLLCLK;
  RCC_ClkInitStruct.SYSCLKDivider = RCC_SYSCLK_DIV1;
  RCC_ClkInitStruct.AHBCLKDivider = RCC_HCLK_DIV2;
  RCC_ClkInitStruct.APB3CLKDivider = RCC_APB3_DIV2;
  RCC_ClkInitStruct.APB1CLKDivider = RCC_APB1_DIV2;
  RCC_ClkInitStruct.APB2CLKDivider = RCC_APB2_DIV2;
  RCC_ClkInitStruct.APB4CLKDivider = RCC_APB4_DIV2;

  if (HAL_RCC_ClockConfig(&RCC_ClkInitStruct, FLASH_LATENCY_3) != HAL_OK)
  {
    Error_Handler();
  }
}

void PeriphCommonClock_Config(void)
{
  RCC_PeriphCLKInitTypeDef PeriphClkInitStruct = {0};

  /** Initializes the peripherals clock
  */
  PeriphClkInitStruct.PeriphClockSelection = RCC_PERIPHCLK_ADC|RCC_PERIPHCLK_FDCAN;
  PeriphClkInitStruct.PLL2.PLL2M = 2;
  /* 16 MHz HSE / 2 * 25 / 2 = 100 MHz for FDCAN and ADC. */
  PeriphClkInitStruct.PLL2.PLL2N = 25;
  PeriphClkInitStruct.PLL2.PLL2P = 2;
  PeriphClkInitStruct.PLL2.PLL2Q = 2;
  PeriphClkInitStruct.PLL2.PLL2R = 2;
  PeriphClkInitStruct.PLL2.PLL2RGE = RCC_PLL2VCIRANGE_3;
  PeriphClkInitStruct.PLL2.PLL2VCOSEL = RCC_PLL2VCOWIDE;
  PeriphClkInitStruct.PLL2.PLL2FRACN = 0;
  PeriphClkInitStruct.FdcanClockSelection = RCC_FDCANCLKSOURCE_PLL2;
  PeriphClkInitStruct.AdcClockSelection = RCC_ADCCLKSOURCE_PLL2;
  if (HAL_RCCEx_PeriphCLKConfig(&PeriphClkInitStruct) != HAL_OK)
  {
    Error_Handler();
  }
}

void Error_Handler(void)
{
  __disable_irq();
  while (1)
  {
  }
}
